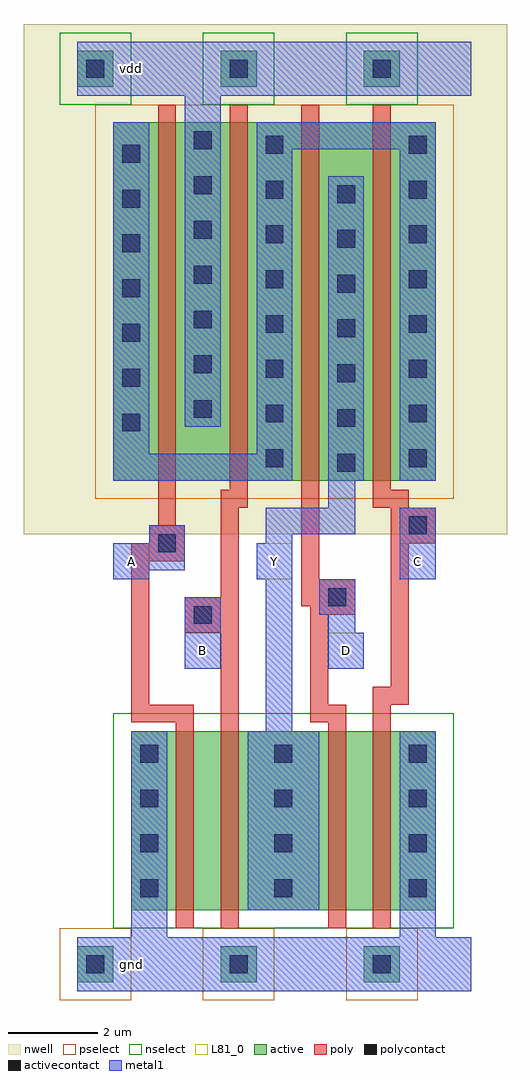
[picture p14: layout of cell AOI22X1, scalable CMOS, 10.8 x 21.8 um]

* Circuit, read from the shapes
.subckt AOI22X1 A B C D Y gnd vdd
M1 n1 A gnd gnd nfet w=4u l=0.4u
M2 Y B n1 gnd nfet w=4u l=0.4u
M3 n2 D Y gnd nfet w=4u l=0.4u
M4 gnd C n2 gnd nfet w=4u l=0.4u
M5 vdd A n3 vdd pfet w=8u l=0.4u
M6 n3 B vdd vdd pfet w=8u l=0.4u
M7 Y D n3 vdd pfet w=8u l=0.4u
M8 n3 C Y vdd pfet w=8u l=0.4u
.ends

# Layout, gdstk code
import gdstk
lib = gdstk.Library(unit=1e-6, precision=1e-09)
def R(c, l, rs):  # rectangles x0, y0, x1, y1
    for r in rs: c.add(gdstk.rectangle(r[:2], r[2:], *l))
def A(c, l, x, y, w, h, nx, ny, dx, dy):  # array of equal rectangles
    R(c, l, [(x+i*dx, y+j*dy, x+i*dx+w, y+j*dy+h) for i in range(nx) for j in range(ny)])
nwell = (42, 0)
active = (43, 0)
pselect = (44, 0)
nselect = (45, 0)
poly = (46, 0)
polycontact = (47, 0)
activecontact = (48, 0)
metal1 = (49, 0)
L81_0 = (81, 0)

aoi22x1 = lib.new_cell('AOI22X1')
R(aoi22x1, nwell, [(-1.6,9.6,9.2,21)])
A(aoi22x1, active, -0.4, -0.4, 0.8, 0.8, 3, 2, 3.2, 20)
R(aoi22x1, active, [(0.8,1.2,7.6,5.2), (0.4,10.8,7.6,18.8)])
A(aoi22x1, pselect, -0.8, -0.8, 1.6, 1.6, 3, 1, 3.2, 0)
R(aoi22x1, pselect, [(0,10.4,8,19.2)])
A(aoi22x1, nselect, -0.8, 19.2, 1.6, 1.6, 3, 1, 3.2, 0)
R(aoi22x1, nselect, [(0.4,0.8,8,5.6)])
R(aoi22x1, poly, [(1.8,0.8,2.2,5.4), (2.8,0.8,3.2,7.4), (5.2,0.8,5.6,5.4), (6.2,0.8,6.6,5.8), (0.8,5.4,2.2,5.8), (4.8,5.4,5.6,5.8), (0.8,5.8,1.2,9), (4.8,5.8,5.2,7.8), (6.2,5.8,7,6.2), (6.6,6.2,7,9.4), (2,7.4,3.2,8.2), (4.8,7.8,5.8,8), (4.6,8,5.8,8.6), (2.8,8.2,3.2,10.2), (4.6,8.6,5,19.2), (0.8,9,2,9.4), (1.2,9.4,2,9.8), (6.6,9.4,7.6,10.2), (1.4,9.8,1.8,19.2), (2.8,10.2,3.4,10.6), (6.2,10.2,7,10.6), (3,10.6,3.4,19.2), (6.2,10.6,6.6,19.2)])
R(aoi22x1, polycontact, [(2.2,7.6,2.6,8), (5.2,8,5.6,8.4), (1.4,9.2,1.8,9.6), (7,9.6,7.4,10)])
A(aoi22x1, activecontact, -0.2, -0.2, 0.4, 0.4, 3, 2, 3.2, 20)
A(aoi22x1, activecontact, 1, 1.5, 0.4, 0.4, 3, 4, 3, 1)
A(aoi22x1, activecontact, 5.4, 11, 0.4, 0.4, 1, 7, 0, 1)
A(aoi22x1, activecontact, 3.8, 11.1, 0.4, 0.4, 1, 8, 0, 1)
A(aoi22x1, activecontact, 7, 11.1, 0.4, 0.4, 1, 8, 0, 1)
A(aoi22x1, activecontact, 0.6, 11.9, 0.4, 0.4, 1, 7, 0, 1)
A(aoi22x1, activecontact, 2.2, 12.2, 0.4, 0.4, 1, 7, 0, 1)
R(aoi22x1, metal1, [(-0.4,-0.6,8.4,0.6), (0.8,0.6,1.6,5.2), (6.8,0.6,7.6,5.2), (3.4,1.2,5,5.2), (3.8,5.2,4.4,8.6), (2,6.6,2.8,8.2), (5.2,6.6,6,7.4), (5.2,7.4,5.8,7.8), (5,7.8,5.8,8.6), (0.4,8.6,1.2,8.8), (3.6,8.6,4.4,9.4), (6.8,8.6,7.6,10.2), (0.4,8.8,2,9.4), (1.2,9.4,2,9.8), (3.8,9.4,4.4,9.6), (3.8,9.6,5.8,10.2), (5.2,10.2,5.8,10.8), (0.4,10.8,4.4,11.4), (5.2,10.8,6,17.6), (6.8,10.8,7.6,18.2), (0.4,11.4,1.2,18.8), (3.6,11.4,4.4,18.2), (2,12,2.8,19.4), (3.6,18.2,7.6,18.8), (-0.4,19.4,8.4,20.6)])
A(aoi22x1, L81_0, 0.4, 8.6, 0.8, 0.8, 3, 1, 3.2, 0)
R(aoi22x1, L81_0, [(2,6.6,2.8,7.4), (5.2,6.6,6,7.4)])
aoi22x1.add(gdstk.Label('gnd', (0.8,0), layer=109, texttype=0))
aoi22x1.add(gdstk.Label('vdd', (0.8,20), layer=109, texttype=0))
aoi22x1.add(gdstk.Label('C', (7.2,9), layer=109, texttype=0))
aoi22x1.add(gdstk.Label('D', (5.6,7), layer=109, texttype=0))
aoi22x1.add(gdstk.Label('Y', (4,9), layer=109, texttype=0))
aoi22x1.add(gdstk.Label('A', (0.8,9), layer=109, texttype=0))
aoi22x1.add(gdstk.Label('B', (2.4,7), layer=109, texttype=0))

lib.write_gds('AOI22X1.gds')
